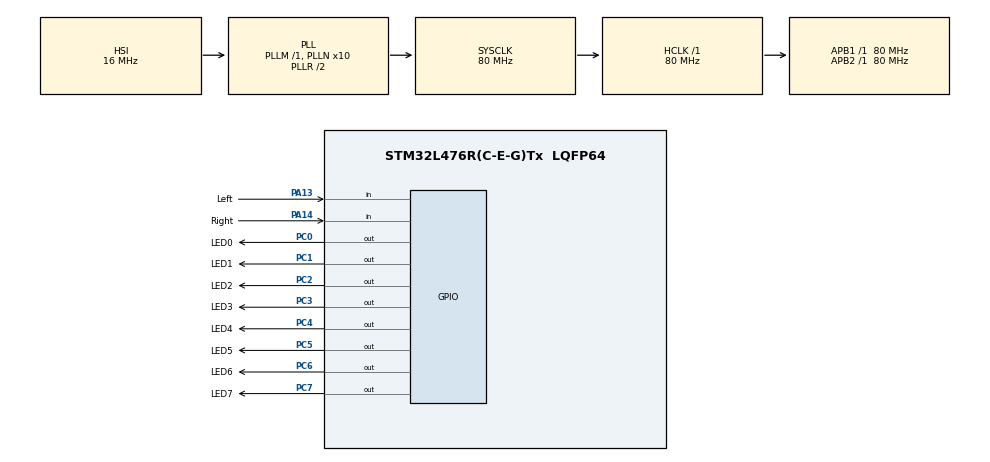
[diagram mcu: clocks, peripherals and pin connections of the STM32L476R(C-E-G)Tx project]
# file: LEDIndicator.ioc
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Mcu.Family=STM32L4
Mcu.Name=STM32L476R(C-E-G)Tx
Mcu.Package=LQFP64
NVIC.PriorityGroup=NVIC_PRIORITYGROUP_4
PA13\ (JTMS-SWDIO).GPIO_Label=Left
PA13\ (JTMS-SWDIO).Signal=GPIO_Input
PA14\ (JTCK-SWCLK).GPIO_Label=Right
PA14\ (JTCK-SWCLK).Signal=GPIO_Input
PC0.GPIO_Label=LED0
PC0.Signal=GPIO_Output
PC1.GPIO_Label=LED1
PC1.Signal=GPIO_Output
PC2.GPIO_Label=LED2
PC2.Signal=GPIO_Output
PC3.GPIO_Label=LED3
PC3.Signal=GPIO_Output
PC4.GPIO_Label=LED4
PC4.Signal=GPIO_Output
PC5.GPIO_Label=LED5
PC5.Signal=GPIO_Output
PC6.GPIO_Label=LED6
PC6.Signal=GPIO_Output
PC7.GPIO_Label=LED7
PC7.Signal=GPIO_Output
PH0-OSC_IN\ (PH0).Mode=HSE-External-Oscillator
PH0-OSC_IN\ (PH0).Signal=RCC_OSC_IN
PH1-OSC_OUT\ (PH1).Mode=HSE-External-Oscillator
PH1-OSC_OUT\ (PH1).Signal=RCC_OSC_OUT
ProjectManager.HeapSize=0x200
ProjectManager.StackSize=0x400
ProjectManager.TargetToolchain=STM32CubeIDE
RCC.ADCFreq_Value=64000000
RCC.AHBFreq_Value=80000000
RCC.APB1Freq_Value=80000000
RCC.APB1TimFreq_Value=80000000
RCC.APB2Freq_Value=80000000
RCC.APB2TimFreq_Value=80000000
RCC.CortexFreq_Value=80000000
RCC.HCLKFreq_Value=80000000
RCC.HSE_VALUE=8000000
RCC.HSI_VALUE=16000000
RCC.LSE_VALUE=32768
RCC.MSI_VALUE=4000000
RCC.PLLN=10
RCC.PLLSourceVirtual=RCC_PLLSOURCE_HSI
RCC.SYSCLKFreq_VALUE=80000000
RCC.SYSCLKSource=RCC_SYSCLKSOURCE_PLLCLK
RCC.USBFreq_Value=64000000
RCC.VCOOutputFreq_Value=160000000
board=custom

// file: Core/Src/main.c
/* USER CODE BEGIN Header */
/**
  ******************************************************************************
  * @file           : main.c
  * @brief          : Main program body
  ******************************************************************************
  * @attention
  *
  * Copyright (c) 2024 STMicroelectronics.
  * All rights reserved.
  *
  * This software is licensed under terms that can be found in the LICENSE file
  * in the root directory of this software component.
  * If no LICENSE file comes with this software, it is provided AS-IS.
  *
  ******************************************************************************
  */
/* USER CODE END Header */
#include "main.h"

/* USER CODE BEGIN PV */
int j=0;
/* USER CODE END PV */

void SystemClock_Config(void);
static void MX_GPIO_Init(void);

int main(void)
{

  /* MCU Configuration--------------------------------------------------------*/

  /* Reset of all peripherals, Initializes the Flash interface and the Systick. */
  HAL_Init();

  /* Configure the system clock */
  SystemClock_Config();

  /* Initialize all configured peripherals */
  MX_GPIO_Init();
  /* USER CODE BEGIN 2 */
  int LED[]={LED0_Pin,LED1_Pin,LED2_Pin,LED3_Pin,LED4_Pin,LED5_Pin,LED6_Pin,LED7_Pin};
  /* USER CODE END 2 */

  /* Infinite loop */
  /* USER CODE BEGIN WHILE */
  while (1)
  {
	  if(HAL_GPIO_ReadPin(Right_GPIO_Port, Right_Pin)==0)
	  {
		  j--;
		  if(j<0)j=0;
		  for(int i=0;i<8;++i)
		  {
			if (i<=j)
			{
				HAL_GPIO_WritePin(GPIOC, LED[i], 1);
			}
			else
			{
				HAL_GPIO_WritePin(GPIOC, LED[i], 0);
			}
		  }
		  HAL_Delay(10);
		  while(HAL_GPIO_ReadPin(Right_GPIO_Port, Right_Pin)==0);
	  }
		  if(HAL_GPIO_ReadPin(Left_GPIO_Port, Left_Pin)==0)
		  	  {

		  	  j++;
			  if(j>7)j=7;
		  		  for(int i=0;i<8;++i)
		  		  {
		  			if (i<=j)
		  			{
		  				HAL_GPIO_WritePin(GPIOC, LED[i], 1);
		  			}
		  			else
		  			{
		  				HAL_GPIO_WritePin(GPIOC, LED[i], 0);
		  			}
		  		  }
		  		  HAL_Delay(10);
		  		while(HAL_GPIO_ReadPin(Left_GPIO_Port, Left_Pin)==0);

	  }
    /* USER CODE END WHILE */

  }
}

void SystemClock_Config(void)
{
  RCC_OscInitTypeDef RCC_OscInitStruct = {0};
  RCC_ClkInitTypeDef RCC_ClkInitStruct = {0};

  /** Configure the main internal regulator output voltage
  */
  if (HAL_PWREx_ControlVoltageScaling(PWR_REGULATOR_VOLTAGE_SCALE1) != HAL_OK)
  {
    Error_Handler();
  }

  /** Initializes the RCC Oscillators according to the specified parameters
  * in the RCC_OscInitTypeDef structure.
  */
  RCC_OscInitStruct.OscillatorType = RCC_OSCILLATORTYPE_HSI;
  RCC_OscInitStruct.HSIState = RCC_HSI_ON;
  RCC_OscInitStruct.HSICalibrationValue = RCC_HSICALIBRATION_DEFAULT;
  RCC_OscInitStruct.PLL.PLLState = RCC_PLL_ON;
  RCC_OscInitStruct.PLL.PLLSource = RCC_PLLSOURCE_HSI;
  RCC_OscInitStruct.PLL.PLLM = 1;
  RCC_OscInitStruct.PLL.PLLN = 10;
  RCC_OscInitStruct.PLL.PLLP = RCC_PLLP_DIV7;
  RCC_OscInitStruct.PLL.PLLQ = RCC_PLLQ_DIV2;
  RCC_OscInitStruct.PLL.PLLR = RCC_PLLR_DIV2;
  if (HAL_RCC_OscConfig(&RCC_OscInitStruct) != HAL_OK)
  {
    Error_Handler();
  }

  /** Initializes the CPU, AHB and APB buses clocks
  */
  RCC_ClkInitStruct.ClockType = RCC_CLOCKTYPE_HCLK|RCC_CLOCKTYPE_SYSCLK
                              |RCC_CLOCKTYPE_PCLK1|RCC_CLOCKTYPE_PCLK2;
  RCC_ClkInitStruct.SYSCLKSource = RCC_SYSCLKSOURCE_PLLCLK;
  RCC_ClkInitStruct.AHBCLKDivider = RCC_SYSCLK_DIV1;
  RCC_ClkInitStruct.APB1CLKDivider = RCC_HCLK_DIV1;
  RCC_ClkInitStruct.APB2CLKDivider = RCC_HCLK_DIV1;

  if (HAL_RCC_ClockConfig(&RCC_ClkInitStruct, FLASH_LATENCY_4) != HAL_OK)
  {
    Error_Handler();
  }
}

static void MX_GPIO_Init(void)
{
  GPIO_InitTypeDef GPIO_InitStruct = {0};

  /* GPIO Ports Clock Enable */
  __HAL_RCC_GPIOH_CLK_ENABLE();
  __HAL_RCC_GPIOC_CLK_ENABLE();
  __HAL_RCC_GPIOA_CLK_ENABLE();

  /*Configure GPIO pin Output Level */
  HAL_GPIO_WritePin(GPIOC, LED0_Pin|LED1_Pin|LED2_Pin|LED3_Pin
                          |LED4_Pin|LED5_Pin|LED6_Pin|LED7_Pin, GPIO_PIN_RESET);

  /*Configure GPIO pins : LED0_Pin LED1_Pin LED2_Pin LED3_Pin
                           LED4_Pin LED5_Pin LED6_Pin LED7_Pin */
  GPIO_InitStruct.Pin = LED0_Pin|LED1_Pin|LED2_Pin|LED3_Pin
                          |LED4_Pin|LED5_Pin|LED6_Pin|LED7_Pin;
  GPIO_InitStruct.Mode = GPIO_MODE_OUTPUT_PP;
  GPIO_InitStruct.Pull = GPIO_NOPULL;
  GPIO_InitStruct.Speed = GPIO_SPEED_FREQ_LOW;
  HAL_GPIO_Init(GPIOC, &GPIO_InitStruct);

  /*Configure GPIO pins : Left_Pin Right_Pin */
  GPIO_InitStruct.Pin = Left_Pin|Right_Pin;
  GPIO_InitStruct.Mode = GPIO_MODE_INPUT;
  GPIO_InitStruct.Pull = GPIO_NOPULL;
  HAL_GPIO_Init(GPIOA, &GPIO_InitStruct);

}

void Error_Handler(void)
{
  __disable_irq();
  while (1)
  {
  }
}
